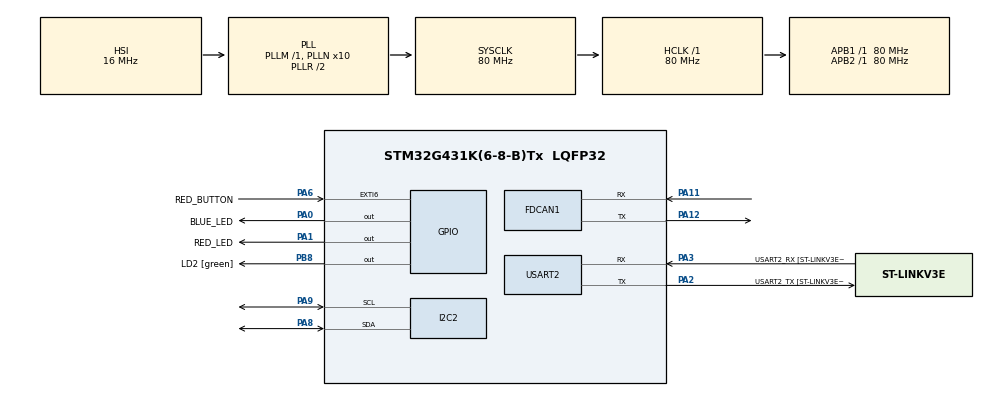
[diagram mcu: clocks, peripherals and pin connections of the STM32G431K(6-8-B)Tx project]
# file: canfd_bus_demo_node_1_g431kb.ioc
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FDCAN1.AutoRetransmission=ENABLE
FDCAN1.CalculateBaudRateNominal=500000
FDCAN1.CalculateTimeBitNominal=2000
FDCAN1.CalculateTimeQuantumNominal=25.0
FDCAN1.DataPrescaler=2
FDCAN1.DataSyncJumpWidth=4
FDCAN1.DataTimeSeg1=15
FDCAN1.DataTimeSeg2=4
FDCAN1.FrameFormat=FDCAN_FRAME_FD_BRS
FDCAN1.NominalPrescaler=2
FDCAN1.NominalSyncJumpWidth=16
FDCAN1.NominalTimeSeg1=63
FDCAN1.NominalTimeSeg2=16
FDCAN1.StdFiltersNbr=1
I2C2.Timing=0x10D19CE4
Mcu.Family=STM32G4
Mcu.Name=STM32G431K(6-8-B)Tx
Mcu.Package=LQFP32
NVIC.EXTI9_5_IRQn=true\:0\:0\:false\:false\:true\:true\:true\:true
NVIC.FDCAN1_IT0_IRQn=true\:0\:0\:false\:false\:true\:true\:true\:true
NVIC.PriorityGroup=NVIC_PRIORITYGROUP_4
PA0.GPIO_Label=BLUE_LED
PA0.Signal=GPIO_Output
PA1.GPIO_Label=RED_LED
PA1.Signal=GPIO_Output
PA11.Mode=FDCAN_Activate
PA11.Signal=FDCAN1_RX
PA12.Mode=FDCAN_Activate
PA12.Signal=FDCAN1_TX
PA13.GPIO_Label=T_SWDIO
PA13.Mode=Serial_Wire
PA13.Signal=SYS_JTMS-SWDIO
PA14.GPIO_Label=T_SWCLK
PA14.Mode=Serial_Wire
PA14.Signal=SYS_JTCK-SWCLK
PA2.GPIO_Label=USART2_TX [ST-LINKV3E_VCP_RX]
PA2.Mode=Asynchronous
PA2.Signal=USART2_TX
PA3.GPIO_Label=USART2_RX [ST-LINKV3E_VCP_TX]
PA3.Mode=Asynchronous
PA3.Signal=USART2_RX
PA6.GPIO_Label=RED_BUTTON
PA6.GPIO_ModeDefaultEXTI=GPIO_MODE_IT_FALLING
PA6.GPIO_PuPd=GPIO_PULLUP
PA6.Signal=GPXTI6
PA8.Mode=I2C
PA8.Signal=I2C2_SDA
PA9.Mode=I2C
PA9.Signal=I2C2_SCL
PB3.GPIO_Label=T_SWO
PB3.Signal=SYS_JTDO-SWO
PB8-BOOT0.GPIO_Label=LD2 [green]
PB8-BOOT0.Signal=GPIO_Output
ProjectManager.HeapSize=0x200
ProjectManager.StackSize=0x400
ProjectManager.TargetToolchain=STM32CubeIDE
RCC.ADC12Freq_Value=80000000
RCC.AHBFreq_Value=80000000
RCC.APB1Freq_Value=80000000
RCC.APB1TimFreq_Value=80000000
RCC.APB2Freq_Value=80000000
RCC.APB2TimFreq_Value=80000000
RCC.CortexFreq_Value=80000000
RCC.EXTERNAL_CLOCK_VALUE=12288000
RCC.HCLKFreq_Value=80000000
RCC.HSE_VALUE=8000000
RCC.HSI48_VALUE=48000000
RCC.HSI_VALUE=16000000
RCC.LSE_VALUE=32768
RCC.PLLN=10
RCC.SYSCLKFreq_VALUE=80000000
RCC.SYSCLKSource=RCC_SYSCLKSOURCE_PLLCLK
RCC.USBFreq_Value=80000000
RCC.VCOOutputFreq_Value=160000000
USART2.VirtualMode-Asynchronous=VM_ASYNC
USART2.WordLength=WORDLENGTH_8B
VP_SYS_VS_DBSignals.Mode=DisableDeadBatterySignals
board=NUCLEO-G431KB

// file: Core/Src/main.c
/* USER CODE BEGIN Header */
/**
 ******************************************************************************
 * @file           : main.c
 * @brief          : Main program body
 ******************************************************************************
 * @attention
 *
 * Copyright (c) 2024 STMicroelectronics.
 * All rights reserved.
 *
 * This software is licensed under terms that can be found in the LICENSE file
 * in the root directory of this software component.
 * If no LICENSE file comes with this software, it is provided AS-IS.
 *
 ******************************************************************************
 */
/* USER CODE END Header */
#include "main.h"
#include "fdcan.h"
#include "i2c.h"
#include "usart.h"
#include "gpio.h"

/* USER CODE BEGIN Includes */
#include <stdio.h>
#include <string.h>
#include "ssd1306.h"
/* USER CODE END Includes */

/* USER CODE BEGIN PV */
uint8_t red_button_flag = 0;
uint8_t lorem_ipsum[] =
		"TX A: Lorem ipsum dolor sit amet, consectetur adipiscing elit...";
char lcd_line[64];

FDCAN_TxHeaderTypeDef txHeader;
uint8_t txData64[64];
uint32_t msg_count = 0;
/* USER CODE END PV */

void SystemClock_Config(void);

int main(void)
{

	/* MCU Configuration--------------------------------------------------------*/

	/* Reset of all peripherals, Initializes the Flash interface and the Systick. */
	HAL_Init();

	/* Configure the system clock */
	SystemClock_Config();

	/* Initialize all configured peripherals */
	MX_GPIO_Init();
	MX_USART2_UART_Init();
	MX_FDCAN1_Init();
	MX_I2C2_Init();
	/* USER CODE BEGIN 2 */

	HAL_GPIO_WritePin(RED_LED_GPIO_Port, RED_LED_Pin, GPIO_PIN_RESET);

	ssd1306_Init();
	ssd1306_Fill(Black);
	ssd1306_SetCursor(20, 5);
	ssd1306_WriteString("ufnalski.edu.pl", Font_6x8, White);
	ssd1306_SetCursor(10, 17);
	ssd1306_WriteString("FD CAN demo node A", Font_6x8, White);
	ssd1306_UpdateScreen();

	if (HAL_FDCAN_Start(&hfdcan1) != HAL_OK)
	{
		Error_Handler();
	}

	txHeader.IdType = FDCAN_STANDARD_ID;
	txHeader.TxFrameType = FDCAN_DATA_FRAME;
	txHeader.ErrorStateIndicator = FDCAN_ESI_ACTIVE;
	txHeader.BitRateSwitch = FDCAN_BRS_ON;
	txHeader.FDFormat = FDCAN_FD_CAN;
	txHeader.TxEventFifoControl = FDCAN_NO_TX_EVENTS;
	txHeader.MessageMarker = 0;
	/* USER CODE END 2 */

	/* Infinite loop */
	/* USER CODE BEGIN WHILE */
	while (1)
	{

		txHeader.DataLength = FDCAN_DLC_BYTES_64;
		txHeader.Identifier = 0xDD;
		memcpy(txData64, lorem_ipsum, sizeof(txData64));
		if (HAL_FDCAN_AddMessageToTxFifoQ(&hfdcan1, &txHeader, txData64)
				!= HAL_OK)
		{
			Error_Handler();
		}
		else
		{
			msg_count++;
		}

		ssd1306_SetCursor(2, 30);
		ssd1306_WriteString("TX (0.5 / 2 Mbit/s):", Font_6x8, White);
		sprintf(lcd_line, "Data length code: %lu", txHeader.DataLength);
		ssd1306_SetCursor(2, 42);
		ssd1306_WriteString(lcd_line, Font_6x8, White);
		sprintf(lcd_line, "Message count: %lu", msg_count);
		ssd1306_SetCursor(2, 54);
		ssd1306_WriteString(lcd_line, Font_6x8, White);
		ssd1306_UpdateScreen();

		HAL_GPIO_TogglePin(BLUE_LED_GPIO_Port, BLUE_LED_Pin);
		HAL_Delay(500);
		/* USER CODE END WHILE */

	}
}

void SystemClock_Config(void)
{
	RCC_OscInitTypeDef RCC_OscInitStruct =
	{ 0 };
	RCC_ClkInitTypeDef RCC_ClkInitStruct =
	{ 0 };

	/** Configure the main internal regulator output voltage
	 */
	HAL_PWREx_ControlVoltageScaling(PWR_REGULATOR_VOLTAGE_SCALE1);

	/** Initializes the RCC Oscillators according to the specified parameters
	 * in the RCC_OscInitTypeDef structure.
	 */
	RCC_OscInitStruct.OscillatorType = RCC_OSCILLATORTYPE_HSI;
	RCC_OscInitStruct.HSIState = RCC_HSI_ON;
	RCC_OscInitStruct.HSICalibrationValue = RCC_HSICALIBRATION_DEFAULT;
	RCC_OscInitStruct.PLL.PLLState = RCC_PLL_ON;
	RCC_OscInitStruct.PLL.PLLSource = RCC_PLLSOURCE_HSI;
	RCC_OscInitStruct.PLL.PLLM = RCC_PLLM_DIV1;
	RCC_OscInitStruct.PLL.PLLN = 10;
	RCC_OscInitStruct.PLL.PLLP = RCC_PLLP_DIV2;
	RCC_OscInitStruct.PLL.PLLQ = RCC_PLLQ_DIV2;
	RCC_OscInitStruct.PLL.PLLR = RCC_PLLR_DIV2;
	if (HAL_RCC_OscConfig(&RCC_OscInitStruct) != HAL_OK)
	{
		Error_Handler();
	}

	/** Initializes the CPU, AHB and APB buses clocks
	 */
	RCC_ClkInitStruct.ClockType = RCC_CLOCKTYPE_HCLK | RCC_CLOCKTYPE_SYSCLK
			| RCC_CLOCKTYPE_PCLK1 | RCC_CLOCKTYPE_PCLK2;
	RCC_ClkInitStruct.SYSCLKSource = RCC_SYSCLKSOURCE_PLLCLK;
	RCC_ClkInitStruct.AHBCLKDivider = RCC_SYSCLK_DIV1;
	RCC_ClkInitStruct.APB1CLKDivider = RCC_HCLK_DIV1;
	RCC_ClkInitStruct.APB2CLKDivider = RCC_HCLK_DIV1;

	if (HAL_RCC_ClockConfig(&RCC_ClkInitStruct, FLASH_LATENCY_2) != HAL_OK)
	{
		Error_Handler();
	}
}

/* USER CODE BEGIN 4 */
void HAL_GPIO_EXTI_Callback(uint16_t GPIO_Pin)
{
	if (GPIO_Pin == RED_BUTTON_Pin)
	{
		red_button_flag = 1;
	}
}
/* USER CODE END 4 */

void Error_Handler(void)
{
	/* USER CODE BEGIN Error_Handler_Debug */
	/* User can add his own implementation to report the HAL error return state */
	__disable_irq();
	HAL_GPIO_WritePin(RED_LED_GPIO_Port, RED_LED_Pin, GPIO_PIN_SET);
	while (1)
	{
	}
	/* USER CODE END Error_Handler_Debug */
}
